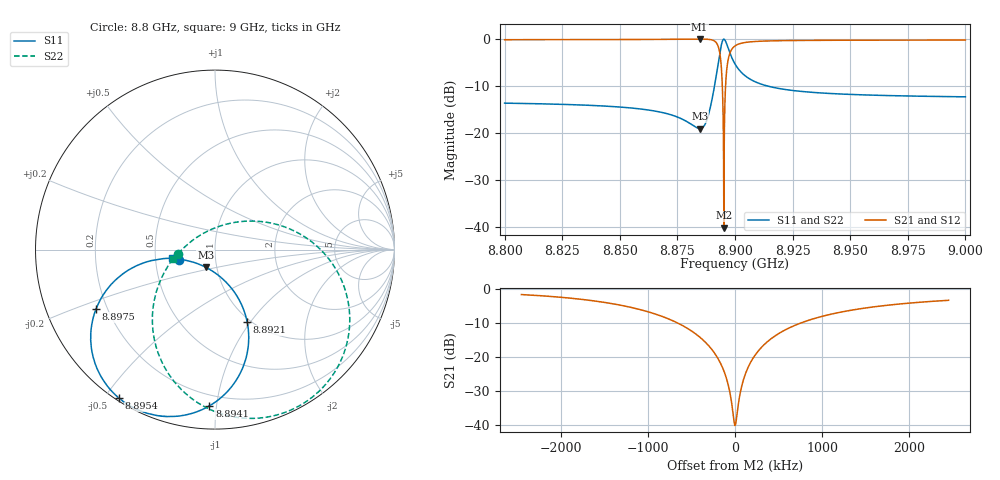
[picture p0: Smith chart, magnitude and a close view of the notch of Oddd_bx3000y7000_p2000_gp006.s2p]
! Sonnet Data File
! From: emgraph Version : 16.52
! From Project: Resonator2
! Data is De-embedded
! Data File Written: 10/05/2017 10:46:04
!< HDATE 10/04/2017 20:26:48
!< MDATE 10/05/2017 00:36:07
!< PARAMS
!< gap = 6.0
!< Length = 400.0
!< Pwid1 = 1500.0
!< Pwid2 = 1500.0
!< END PARAMS
# GHZ S MA R 50.00000
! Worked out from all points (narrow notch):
!   1596 points, 8.8 GHz to 9 GHz, reference 50 ohm
!   highest |S21| = -0.06 dB at 8.8846 GHz (marker M1); lowest = -40.2 dB at 8.8952 GHz (marker M2)
!   notch at M2: 39.9 dB deep, 411 kHz wide at half that depth
!   lowest |S11| = -19.1 dB at 8.8848 GHz (marker M3), VSWR 1.25, Z = 44.3 - j8.86 ohm
!   |S11| at or under -10 dB: start of sweep to 8.8911 GHz; 8.9138 GHz to end of sweep
!   |S22| runs from -19.1 to -0.1 dB; largest |S21 - S12| = 0
!   S11 on the Smith chart (normalised r, x): 8.8 GHz: 0.66, -0.08; 8.8921 GHz: 0.96, -0.97; 8.8941 GHz: 0.13, -0.96; 8.8954 GHz: 0.01, -0.55; 8.8975 GHz: 0.16, -0.23; 9 GHz: 0.61, -0.06
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8.8  0.207 -164.4  0.9783 -78.8  0.9783 -78.8  0.207 -173.2
!< P1 F=8.8 Eeff=(5.57630778 -2.4821e-5) Z0=(37.9068886 8.51285e-5) R=0.0 C=0.0
!< P2 F=8.8 Eeff=(5.57630778 -2.4821e-5) Z0=(37.9068886 8.51285e-5) R=0.0 C=0.0
8.8334  0.1978 -163.5  0.9802 -79.7  0.9802 -79.7  0.1978 -175.9
8.8668  0.1678 -158.6  0.9858 -82.2  0.9858 -82.2  0.1677 174.2
8.8846  0.1112 -119.1  0.9935 -89.4  0.9935 -89.4  0.1104 120.2
8.8848  0.1111 -117.3  0.9935 -89.6  0.9935 -89.6  0.1103 118.1
8.888  0.1419 -83.6  0.9891 -94.8  0.9891 -94.8  0.1406 73.6
8.8921  0.4417 -66.0  0.8935 -115.2  0.8935 -115.2  0.4398 14.7
8.893172  0.6475 -75.1  0.7548 -129.6  0.7548 -129.6  0.6454 -5.6
8.89413  0.8711 -92.0  0.4742 -150.0  0.4742 -150.0  0.8687 -30.5
8.894835  0.9787 -109.1  0.1557 -167.0  0.1557 -167.0  0.9764 -52.5
8.895  0.9882 -113.2  0.07566 -167.8  0.07566 -167.8  0.986 -57.7
8.895106  0.9909 -115.8  0.02567 -155.9  0.02567 -155.9  0.9887 -61.0
8.895153  0.9913 -117.0  0.009813 -96.9  0.009813 -96.9  0.9891 -62.4
8.8954  0.9854 -122.8  0.1129 -11.0  0.1129 -11.0  0.9833 -69.7
8.895606  0.9718 -127.4  0.201 -13.9  0.201 -13.9  0.9698 -75.5
8.896004  0.9303 -135.2  0.3487 -21.6  0.3487 -21.6  0.9286 -85.4
8.897476  0.74 -153.5  0.6678 -42.4  0.6678 -42.4  0.739 -110.5
8.9  0.5403 -164.8  0.8401 -57.7  0.8401 -57.7  0.5397 -130.2
8.909  0.3472 -170.3  0.9376 -70.6  0.9376 -70.6  0.3471 -150.8
8.9334  0.2698 -169.6  0.9629 -75.8  0.9629 -75.8  0.2697 -162.0
8.9668  0.249 -169.0  0.9685 -77.4  0.9685 -77.4  0.249 -165.9
9  0.2416 -168.8  0.9704 -78.2  0.9704 -78.2  0.2416 -167.6
